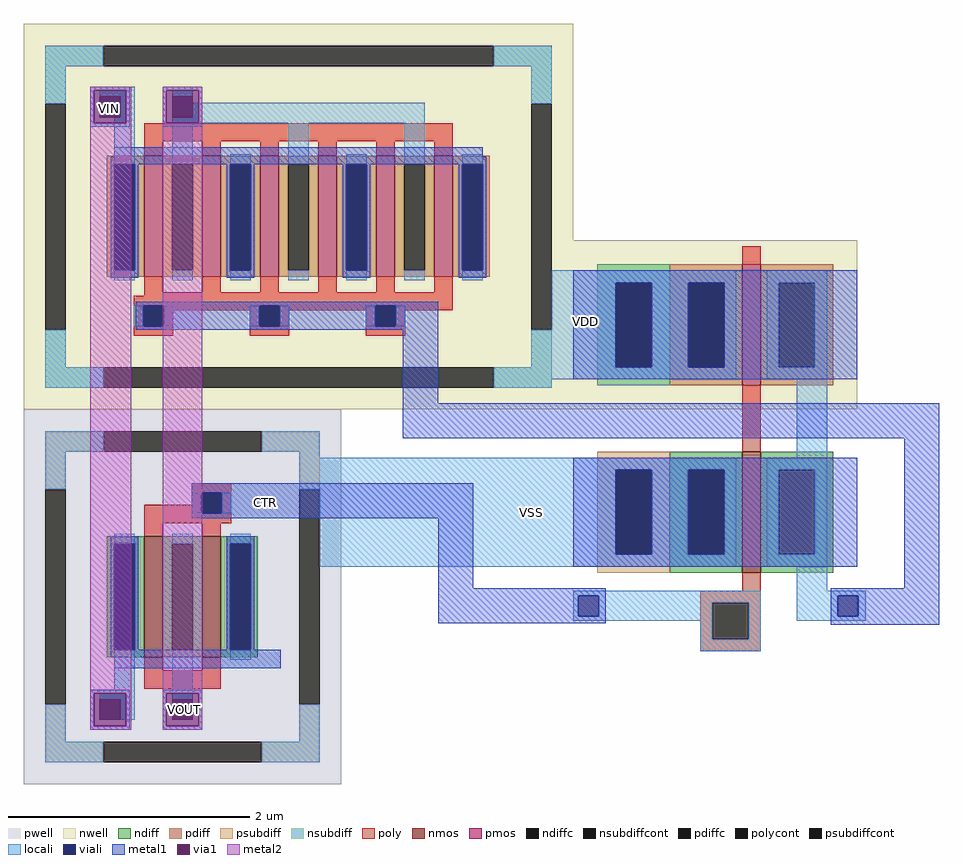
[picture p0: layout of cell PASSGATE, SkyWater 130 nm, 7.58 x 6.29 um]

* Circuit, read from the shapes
.subckt PASSGATE VIN VOUT CTR VDD VSS
XM1 VOUT CTR VIN VSS sky130_fd_pr__nfet_01v8 w=1 l=0.15 m=2
XM2 INVMIN_0/VOUT CTR VSS VSS sky130_fd_pr__nfet_01v8 w=1 l=0.15
XM3 VOUT INVMIN_0/VOUT VIN VDD sky130_fd_pr__pfet_01v8 w=1 l=0.15 m=6
XM4 INVMIN_0/VOUT CTR VDD VDD sky130_fd_pr__pfet_01v8 w=1 l=0.15
.ends

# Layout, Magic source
magic
tech sky130A
<< nwell >>
rect 683 221 1138 540
<< pwell >>
rect 683 -89 946 221
<< nmos >>
rect 783 16 798 116
rect 831 16 846 116
<< pmos >>
rect 783 331 798 431
rect 831 331 846 431
rect 879 331 894 431
rect 927 331 942 431
rect 975 331 990 431
rect 1023 331 1038 431
<< ndiff >>
rect 752 110 783 116
rect 752 22 758 110
rect 775 22 783 110
rect 752 16 783 22
rect 798 110 831 116
rect 798 22 806 110
rect 823 22 831 110
rect 798 16 831 22
rect 846 110 877 116
rect 846 22 854 110
rect 871 22 877 110
rect 846 16 877 22
<< pdiff >>
rect 752 424 783 431
rect 752 336 758 424
rect 775 336 783 424
rect 752 331 783 336
rect 798 424 831 431
rect 798 336 806 424
rect 823 336 831 424
rect 798 331 831 336
rect 846 424 879 431
rect 846 336 854 424
rect 871 336 879 424
rect 846 331 879 336
rect 894 424 927 431
rect 894 336 902 424
rect 919 336 927 424
rect 894 331 927 336
rect 942 424 975 431
rect 942 336 950 424
rect 967 336 975 424
rect 942 331 975 336
rect 990 424 1023 431
rect 990 336 998 424
rect 1015 336 1023 424
rect 990 331 1023 336
rect 1038 424 1069 431
rect 1038 336 1046 424
rect 1063 336 1069 424
rect 1038 331 1069 336
<< ndiffc >>
rect 758 22 775 110
rect 806 22 823 110
rect 854 22 871 110
<< pdiffc >>
rect 758 336 775 424
rect 806 336 823 424
rect 854 336 871 424
rect 902 336 919 424
rect 950 336 967 424
rect 998 336 1015 424
rect 1046 336 1063 424
<< psubdiff >>
rect 701 186 749 203
rect 880 186 928 203
rect 701 155 718 186
rect 911 155 928 186
rect 701 -54 718 -23
rect 911 -54 928 -23
rect 701 -71 749 -54
rect 880 -71 928 -54
<< nsubdiff >>
rect 701 505 749 522
rect 1072 505 1120 522
rect 701 474 718 505
rect 1103 474 1120 505
rect 701 256 718 287
rect 1103 256 1120 287
rect 701 239 749 256
rect 1072 239 1120 256
<< psubdiffcont >>
rect 749 186 880 203
rect 701 -23 718 155
rect 911 -23 928 155
rect 749 -71 880 -54
<< nsubdiffcont >>
rect 749 505 1072 522
rect 701 287 718 474
rect 1103 287 1120 474
rect 749 239 1072 256
<< poly >>
rect 783 443 1038 458
rect 783 431 798 443
rect 831 431 846 443
rect 879 431 894 443
rect 927 431 942 443
rect 975 431 990 443
rect 1023 431 1038 443
rect 783 318 798 331
rect 831 318 846 331
rect 879 318 894 331
rect 927 318 942 331
rect 975 318 990 331
rect 1023 318 1038 331
rect 783 315 1038 318
rect 774 307 1038 315
rect 774 290 782 307
rect 799 303 878 307
rect 799 290 807 303
rect 774 282 807 290
rect 870 290 878 303
rect 895 303 974 307
rect 895 290 903 303
rect 870 282 903 290
rect 966 290 974 303
rect 991 303 1038 307
rect 991 290 999 303
rect 966 282 999 290
rect 822 152 855 160
rect 822 142 830 152
rect 783 135 830 142
rect 847 135 855 152
rect 783 127 855 135
rect 783 116 798 127
rect 831 116 846 127
rect 783 5 798 16
rect 831 5 846 16
rect 783 -10 846 5
<< polycont >>
rect 782 290 799 307
rect 878 290 895 307
rect 974 290 991 307
rect 830 135 847 152
<< locali >>
rect 701 505 749 522
rect 1072 505 1120 522
rect 701 474 718 505
rect 746 480 775 488
rect 763 463 775 480
rect 758 424 775 463
rect 758 328 775 336
rect 806 480 823 488
rect 823 463 1015 475
rect 806 458 1015 463
rect 806 424 823 458
rect 806 328 823 336
rect 854 424 871 432
rect 854 328 871 336
rect 902 424 919 458
rect 902 328 919 336
rect 950 424 967 432
rect 950 328 967 336
rect 998 424 1015 458
rect 1103 474 1120 505
rect 998 328 1015 336
rect 1046 424 1063 432
rect 1046 328 1063 336
rect 774 290 782 307
rect 799 290 807 307
rect 870 290 878 307
rect 895 290 903 307
rect 966 290 974 307
rect 991 290 999 307
rect 701 256 718 287
rect 1120 287 1163 336
rect 1103 256 1163 287
rect 701 239 749 256
rect 1072 246 1163 256
rect 1072 239 1120 246
rect 701 186 749 203
rect 880 186 928 203
rect 701 155 718 186
rect 911 181 928 186
rect 911 155 1163 181
rect 822 135 830 152
rect 847 135 855 152
rect 758 110 775 118
rect 758 -11 775 22
rect 701 -54 718 -23
rect 746 -19 775 -11
rect 763 -36 775 -19
rect 806 110 823 118
rect 806 -19 823 22
rect 854 110 871 118
rect 854 14 871 22
rect 928 91 1163 155
rect 1353 67 1380 71
rect 1353 50 1357 67
rect 1374 50 1380 67
rect 1353 46 1380 50
rect 911 -54 928 -23
rect 701 -71 749 -54
rect 880 -71 928 -54
<< viali >>
rect 746 463 763 480
rect 758 336 775 424
rect 806 463 823 480
rect 854 336 871 424
rect 950 336 967 424
rect 1046 336 1063 424
rect 782 290 799 307
rect 878 290 895 307
rect 974 290 991 307
rect 830 135 847 152
rect 758 22 775 110
rect 746 -36 763 -19
rect 854 22 871 110
rect 806 -36 823 -19
rect 1142 50 1159 67
rect 1357 50 1374 67
<< metal1 >>
rect 738 485 771 488
rect 738 458 741 485
rect 768 458 771 485
rect 738 455 771 458
rect 798 485 831 488
rect 798 458 801 485
rect 828 458 831 485
rect 798 455 831 458
rect 758 430 1063 438
rect 755 424 1066 430
rect 755 336 758 424
rect 775 336 778 424
rect 755 330 778 336
rect 851 336 854 424
rect 871 336 874 424
rect 851 330 874 336
rect 947 336 950 424
rect 967 336 970 424
rect 947 330 970 336
rect 1043 336 1046 424
rect 1063 336 1066 424
rect 1043 330 1066 336
rect 776 307 1026 310
rect 776 290 782 307
rect 799 290 878 307
rect 895 290 974 307
rect 991 290 1026 307
rect 776 287 1026 290
rect 997 226 1026 287
rect 997 197 1441 226
rect 822 152 1055 160
rect 822 135 830 152
rect 847 135 1055 152
rect 822 131 1055 135
rect 755 110 778 116
rect 755 22 758 110
rect 775 22 778 110
rect 851 110 874 116
rect 851 22 854 110
rect 871 22 874 110
rect 1026 73 1055 131
rect 1412 73 1441 197
rect 1026 67 1165 73
rect 1026 50 1142 67
rect 1159 50 1165 67
rect 1026 44 1165 50
rect 1351 67 1441 73
rect 1351 50 1357 67
rect 1374 50 1441 67
rect 1351 43 1441 50
rect 755 16 896 22
rect 758 7 896 16
rect 738 -14 771 -11
rect 738 -41 741 -14
rect 768 -41 771 -14
rect 738 -44 771 -41
rect 798 -14 831 -11
rect 798 -41 801 -14
rect 828 -41 831 -14
rect 798 -44 831 -41
<< via1 >>
rect 741 480 768 485
rect 741 463 746 480
rect 746 463 763 480
rect 763 463 768 480
rect 741 458 768 463
rect 801 480 828 485
rect 801 463 806 480
rect 806 463 823 480
rect 823 463 828 480
rect 801 458 828 463
rect 741 -19 768 -14
rect 741 -36 746 -19
rect 746 -36 763 -19
rect 763 -36 768 -19
rect 741 -41 768 -36
rect 801 -19 828 -14
rect 801 -36 806 -19
rect 806 -36 823 -19
rect 823 -36 828 -19
rect 801 -41 828 -36
<< metal2 >>
rect 738 485 772 488
rect 738 458 741 485
rect 768 458 772 485
rect 738 -14 772 458
rect 738 -41 741 -14
rect 768 -41 772 -14
rect 738 -44 772 -41
rect 798 485 831 488
rect 798 458 801 485
rect 828 458 831 485
rect 798 -14 831 458
rect 798 -41 801 -14
rect 828 -41 831 -14
rect 798 -44 831 -41
use INVMIN  INVMIN_0
transform 1 0 1288 0 1 96
box -150 -75 85 265
<< labels >>
flabel via1 754 470 754 470 0 FreeSans 240 0 0 0 VIN
port 0 nsew
flabel via1 816 -27 816 -27 0 FreeSans 240 0 0 0 VOUT
port 1 nsew
flabel metal1 883 144 883 144 0 FreeSans 240 0 0 0 CTR
port 2 nsew
flabel locali 1148 294 1148 294 0 FreeSans 240 0 0 0 VDD
port 3 nsew
flabel locali 1103 136 1103 136 0 FreeSans 240 0 0 0 VSS
port 4 nsew
<< end >>

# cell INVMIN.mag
magic
tech sky130A
<< nwell >>
rect -150 125 85 265
<< nmos >>
rect -10 -10 5 90
<< pmos >>
rect -10 145 5 245
<< ndiff >>
rect -70 75 -10 90
rect -70 5 -55 75
rect -25 5 -10 75
rect -70 -10 -10 5
rect 5 75 65 90
rect 5 5 20 75
rect 50 5 65 75
rect 5 -10 65 5
<< pdiff >>
rect -70 230 -10 245
rect -70 160 -55 230
rect -25 160 -10 230
rect -70 145 -10 160
rect 5 230 65 245
rect 5 160 20 230
rect 50 160 65 230
rect 5 145 65 160
<< ndiffc >>
rect -55 5 -25 75
rect 20 5 50 75
<< pdiffc >>
rect -55 160 -25 230
rect 20 160 50 230
<< psubdiff >>
rect -130 75 -70 90
rect -130 5 -115 75
rect -85 5 -70 75
rect -130 -10 -70 5
<< nsubdiff >>
rect -130 230 -70 245
rect -130 160 -115 230
rect -85 160 -70 230
rect -130 145 -70 160
<< psubdiffcont >>
rect -115 5 -85 75
<< nsubdiffcont >>
rect -115 160 -85 230
<< poly >>
rect -10 245 5 260
rect -10 90 5 145
rect -10 -25 5 -10
rect -45 -35 5 -25
rect -45 -65 -35 -35
rect -5 -65 5 -35
rect -45 -75 5 -65
<< polycont >>
rect -35 -65 -5 -35
<< locali >>
rect -125 230 -15 240
rect -125 160 -115 230
rect -85 160 -55 230
rect -25 160 -15 230
rect -125 150 -15 160
rect 10 230 60 240
rect 10 160 20 230
rect 50 160 60 230
rect 10 150 60 160
rect 35 85 60 150
rect -125 75 -15 85
rect -125 5 -115 75
rect -85 5 -55 75
rect -25 5 -15 75
rect -125 -5 -15 5
rect 10 75 60 85
rect 10 5 20 75
rect 50 5 60 75
rect 10 -5 60 5
rect 35 -25 60 -5
rect -150 -35 5 -25
rect -150 -50 -35 -35
rect -45 -65 -35 -50
rect -5 -65 5 -35
rect 35 -50 85 -25
rect -45 -75 5 -65
<< viali >>
rect -115 160 -85 230
rect -55 160 -25 230
rect -115 5 -85 75
rect -55 5 -25 75
<< metal1 >>
rect -150 230 85 240
rect -150 160 -115 230
rect -85 160 -55 230
rect -25 160 85 230
rect -150 150 85 160
rect -150 75 85 85
rect -150 5 -115 75
rect -85 5 -55 75
rect -25 5 85 75
rect -150 -5 85 5
<< labels >>
rlabel locali -150 -40 -150 -40 7 VIN
port 1 w
rlabel locali 85 -40 85 -40 3 VOUT
port 2 e
rlabel metal1 -150 195 -150 195 7 VDD
port 3 w
rlabel metal1 -150 40 -150 40 7 VSS
port 4 w
<< end >>
